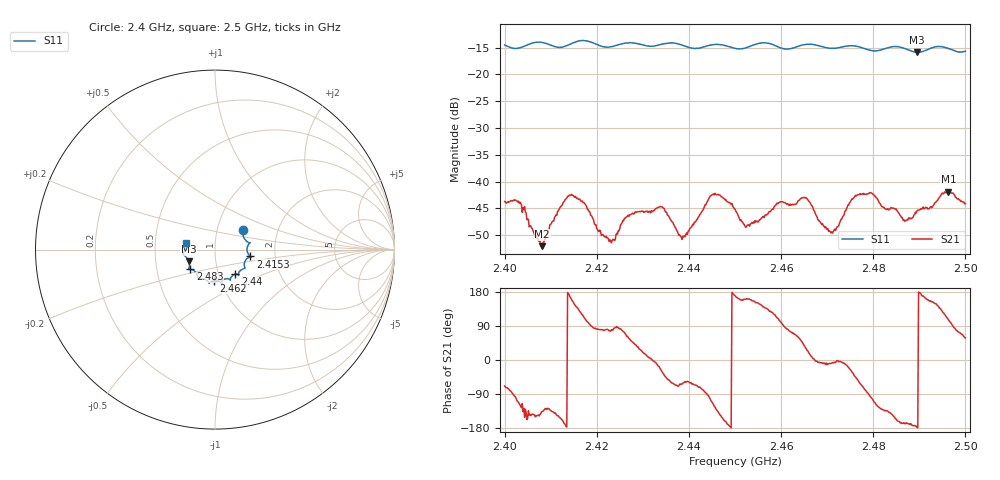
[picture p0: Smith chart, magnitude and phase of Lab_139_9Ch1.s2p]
# Hz S RI R 50
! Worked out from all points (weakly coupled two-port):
!   601 points, 2.4 GHz to 2.5 GHz, reference 50 ohm
!   highest |S21| = -41.92 dB at 2.4963 GHz (marker M1); lowest = -52.1 dB at 2.4082 GHz (marker M2)
!   lowest |S11| = -15.9 dB at 2.4895 GHz (marker M3), VSWR 1.38, Z = 36.9 - j4.99 ohm
!   |S11| at or under -10 dB: start of sweep to end of sweep
!   S12 and S22 are empty: the file has one direction only
!   S11 on the Smith chart (normalised r, x): 2.4 GHz: 1.33, +0.29; 2.4153 GHz: 1.48, -0.12; 2.44 GHz: 1.20, -0.34; 2.462 GHz: 0.93, -0.33; 2.483 GHz: 0.74, -0.17; 2.5 GHz: 0.72, +0.06
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2.4e9  0.1551 0.1065  0.00238 -0.00606  0 0  0 0
2.403167e9  0.1666 0.0572  -0.00272 -0.00566  0 0  0 0
2.408167e9  0.1947 0.0374  -0.0018 -0.00173  0 0  0 0
2.415333e9  0.1964 -0.0384  -0.0059 0.00425  0 0  0 0
2.416667e9  0.2022 -0.0425  -0.00349 0.00559  0 0  0 0
2.423167e9  0.163 -0.0781  0.000468 0.00264  0 0  0 0
2.4265e9  0.1679 -0.1015  0.00218 0.00416  0 0  0 0
2.433333e9  0.1312 -0.1335  0.00551 -0.00161  0 0  0 0
2.438167e9  0.1281 -0.1396  0.00131 -0.00278  0 0  0 0
2.44e9  0.1139 -0.1366  0.00183 -0.00293  0 0  0 0
2.445167e9  0.0847 -0.1693  -0.00313 -0.00686  0 0  0 0
2.45e9  0.0646 -0.1624  -0.00544 0.000979  0 0  0 0
2.452667e9  0.0399 -0.1741  -0.00369 0.00126  0 0  0 0
2.462e9  -0.0052 -0.1732  0.00162 0.00595  0 0  0 0
2.466667e9  -0.0342 -0.1874  0.00588 0.000879  0 0  0 0
2.470833e9  -0.0565 -0.1654  0.00327 -0.00052  0 0  0 0
2.476667e9  -0.0953 -0.1549  0.00453 -0.00601  0 0  0 0
2.483e9  -0.1377 -0.1096  -0.0038 -0.00395  0 0  0 0
2.483333e9  -0.1401 -0.1095  -0.00401 -0.00369  0 0  0 0
2.4895e9  -0.1464 -0.0658  -0.00531 -0.000174  0 0  0 0
2.496333e9  -0.1738 -0.0128  -0.00215 0.00772  0 0  0 0
2.5e9  -0.1596 0.0391  0.00327 0.00527  0 0  0 0
